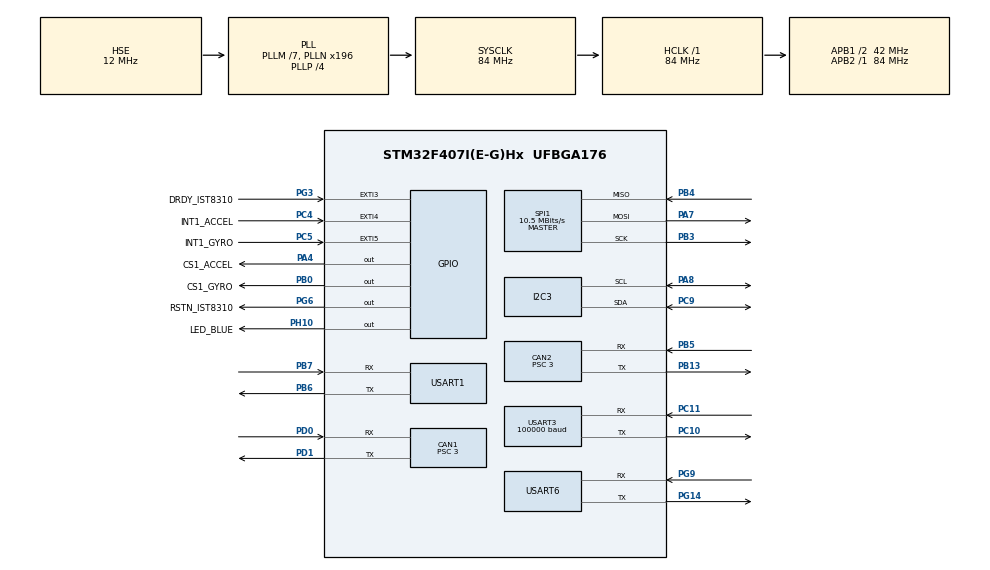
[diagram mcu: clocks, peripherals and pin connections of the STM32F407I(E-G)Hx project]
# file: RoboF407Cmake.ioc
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CAN1.BS1=CAN_BS1_11TQ
CAN1.BS2=CAN_BS2_2TQ
CAN1.CalculateBaudRate=1000000
CAN1.CalculateTimeBit=1000
CAN1.CalculateTimeQuantum=71.42857142857143
CAN1.NART=ENABLE
CAN1.Prescaler=3
CAN2.BS1=CAN_BS1_11TQ
CAN2.BS2=CAN_BS2_2TQ
CAN2.CalculateBaudRate=1000000
CAN2.CalculateTimeBit=1000
CAN2.CalculateTimeQuantum=71.42857142857143
CAN2.NART=ENABLE
CAN2.Prescaler=3
Dma.I2C3_RX.4.Direction=DMA_PERIPH_TO_MEMORY
Dma.I2C3_RX.4.FIFOMode=DMA_FIFOMODE_DISABLE
Dma.I2C3_RX.4.Instance=DMA1_Stream2
Dma.I2C3_RX.4.MemDataAlignment=DMA_MDATAALIGN_BYTE
Dma.I2C3_RX.4.MemInc=DMA_MINC_ENABLE
Dma.I2C3_RX.4.Mode=DMA_NORMAL
Dma.I2C3_RX.4.PeriphDataAlignment=DMA_PDATAALIGN_BYTE
Dma.I2C3_RX.4.PeriphInc=DMA_PINC_DISABLE
Dma.I2C3_RX.4.Priority=DMA_PRIORITY_LOW
Dma.I2C3_TX.5.Direction=DMA_MEMORY_TO_PERIPH
Dma.I2C3_TX.5.FIFOMode=DMA_FIFOMODE_DISABLE
Dma.I2C3_TX.5.Instance=DMA1_Stream4
Dma.I2C3_TX.5.MemDataAlignment=DMA_MDATAALIGN_BYTE
Dma.I2C3_TX.5.MemInc=DMA_MINC_ENABLE
Dma.I2C3_TX.5.Mode=DMA_NORMAL
Dma.I2C3_TX.5.PeriphDataAlignment=DMA_PDATAALIGN_BYTE
Dma.I2C3_TX.5.PeriphInc=DMA_PINC_DISABLE
Dma.I2C3_TX.5.Priority=DMA_PRIORITY_LOW
Dma.Request0=USART1_RX
Dma.Request1=SPI1_RX
Dma.Request2=SPI1_TX
Dma.Request3=USART3_RX
Dma.Request4=I2C3_RX
Dma.Request5=I2C3_TX
Dma.Request6=USART1_TX
Dma.Request7=USART6_RX
Dma.Request8=USART6_TX
Dma.SPI1_RX.1.Direction=DMA_PERIPH_TO_MEMORY
Dma.SPI1_RX.1.FIFOMode=DMA_FIFOMODE_DISABLE
Dma.SPI1_RX.1.Instance=DMA2_Stream0
Dma.SPI1_RX.1.MemDataAlignment=DMA_MDATAALIGN_BYTE
Dma.SPI1_RX.1.MemInc=DMA_MINC_ENABLE
Dma.SPI1_RX.1.Mode=DMA_NORMAL
Dma.SPI1_RX.1.PeriphDataAlignment=DMA_PDATAALIGN_BYTE
Dma.SPI1_RX.1.PeriphInc=DMA_PINC_DISABLE
Dma.SPI1_RX.1.Priority=DMA_PRIORITY_HIGH
Dma.SPI1_TX.2.Direction=DMA_MEMORY_TO_PERIPH
Dma.SPI1_TX.2.FIFOMode=DMA_FIFOMODE_DISABLE
Dma.SPI1_TX.2.Instance=DMA2_Stream3
Dma.SPI1_TX.2.MemDataAlignment=DMA_MDATAALIGN_BYTE
Dma.SPI1_TX.2.MemInc=DMA_MINC_ENABLE
Dma.SPI1_TX.2.Mode=DMA_NORMAL
Dma.SPI1_TX.2.PeriphDataAlignment=DMA_PDATAALIGN_BYTE
Dma.SPI1_TX.2.PeriphInc=DMA_PINC_DISABLE
Dma.SPI1_TX.2.Priority=DMA_PRIORITY_HIGH
Dma.USART1_RX.0.Direction=DMA_PERIPH_TO_MEMORY
Dma.USART1_RX.0.FIFOMode=DMA_FIFOMODE_DISABLE
Dma.USART1_RX.0.Instance=DMA2_Stream2
Dma.USART1_RX.0.MemDataAlignment=DMA_MDATAALIGN_BYTE
Dma.USART1_RX.0.MemInc=DMA_MINC_ENABLE
Dma.USART1_RX.0.Mode=DMA_CIRCULAR
Dma.USART1_RX.0.PeriphDataAlignment=DMA_PDATAALIGN_BYTE
Dma.USART1_RX.0.PeriphInc=DMA_PINC_DISABLE
Dma.USART1_RX.0.Priority=DMA_PRIORITY_MEDIUM
Dma.USART1_TX.6.Direction=DMA_MEMORY_TO_PERIPH
Dma.USART1_TX.6.FIFOMode=DMA_FIFOMODE_DISABLE
Dma.USART1_TX.6.Instance=DMA2_Stream7
Dma.USART1_TX.6.MemDataAlignment=DMA_MDATAALIGN_BYTE
Dma.USART1_TX.6.MemInc=DMA_MINC_ENABLE
Dma.USART1_TX.6.Mode=DMA_NORMAL
Dma.USART1_TX.6.PeriphDataAlignment=DMA_PDATAALIGN_BYTE
Dma.USART1_TX.6.PeriphInc=DMA_PINC_DISABLE
Dma.USART1_TX.6.Priority=DMA_PRIORITY_MEDIUM
Dma.USART3_RX.3.Direction=DMA_PERIPH_TO_MEMORY
Dma.USART3_RX.3.FIFOMode=DMA_FIFOMODE_DISABLE
Dma.USART3_RX.3.Instance=DMA1_Stream1
Dma.USART3_RX.3.MemDataAlignment=DMA_MDATAALIGN_BYTE
Dma.USART3_RX.3.MemInc=DMA_MINC_ENABLE
Dma.USART3_RX.3.Mode=DMA_CIRCULAR
Dma.USART3_RX.3.PeriphDataAlignment=DMA_PDATAALIGN_BYTE
Dma.USART3_RX.3.PeriphInc=DMA_PINC_DISABLE
Dma.USART3_RX.3.Priority=DMA_PRIORITY_MEDIUM
Dma.USART6_RX.7.Direction=DMA_PERIPH_TO_MEMORY
Dma.USART6_RX.7.FIFOMode=DMA_FIFOMODE_DISABLE
Dma.USART6_RX.7.Instance=DMA2_Stream1
Dma.USART6_RX.7.MemDataAlignment=DMA_MDATAALIGN_BYTE
Dma.USART6_RX.7.MemInc=DMA_MINC_ENABLE
Dma.USART6_RX.7.Mode=DMA_CIRCULAR
Dma.USART6_RX.7.PeriphDataAlignment=DMA_PDATAALIGN_BYTE
Dma.USART6_RX.7.PeriphInc=DMA_PINC_DISABLE
Dma.USART6_RX.7.Priority=DMA_PRIORITY_MEDIUM
Dma.USART6_TX.8.Direction=DMA_MEMORY_TO_PERIPH
Dma.USART6_TX.8.FIFOMode=DMA_FIFOMODE_DISABLE
Dma.USART6_TX.8.Instance=DMA2_Stream6
Dma.USART6_TX.8.MemDataAlignment=DMA_MDATAALIGN_BYTE
Dma.USART6_TX.8.MemInc=DMA_MINC_ENABLE
Dma.USART6_TX.8.Mode=DMA_NORMAL
Dma.USART6_TX.8.PeriphDataAlignment=DMA_PDATAALIGN_BYTE
Dma.USART6_TX.8.PeriphInc=DMA_PINC_DISABLE
Dma.USART6_TX.8.Priority=DMA_PRIORITY_MEDIUM
FREERTOS.Tasks01=defaultTask,24,128,StartDefaultTask,Default,NULL,Dynamic,NULL,NULL
I2C3.I2C_Mode=I2C_Fast
Mcu.Family=STM32F4
Mcu.Name=STM32F407I(E-G)Hx
Mcu.Package=UFBGA176
Mcu.UserConstants=UART_SBUS,$$_USART3_IP_HANDLE_$$;UART_ABORT,$$_USART1_IP_HANDLE_$$;SPI_IMU,$$_SPI1_IP_HANDLE_$$;I2C_MAG,$$_I2C3_IP_HANDLE_$$;UART_PRINT,$$_USART6_IP_HANDLE_$$
NVIC.CAN1_RX0_IRQn=true\:5\:0\:false\:false\:true\:true\:true\:true\:true
NVIC.CAN1_RX1_IRQn=true\:5\:0\:false\:false\:true\:true\:true\:true\:true
NVIC.CAN1_SCE_IRQn=true\:5\:0\:false\:false\:true\:true\:true\:true\:true
NVIC.CAN1_TX_IRQn=true\:5\:0\:false\:false\:true\:true\:true\:true\:true
NVIC.CAN2_RX0_IRQn=true\:5\:0\:false\:false\:true\:true\:true\:true\:true
NVIC.CAN2_RX1_IRQn=true\:5\:0\:false\:false\:true\:true\:true\:true\:true
NVIC.CAN2_SCE_IRQn=true\:5\:0\:false\:false\:true\:true\:true\:true\:true
NVIC.CAN2_TX_IRQn=true\:5\:0\:false\:false\:true\:true\:true\:true\:true
NVIC.DMA1_Stream1_IRQn=true\:5\:0\:false\:false\:true\:true\:false\:true\:true
NVIC.DMA1_Stream2_IRQn=true\:5\:0\:false\:false\:true\:true\:false\:true\:true
NVIC.DMA1_Stream4_IRQn=true\:5\:0\:false\:false\:true\:true\:false\:true\:true
NVIC.DMA2_Stream0_IRQn=true\:5\:0\:false\:false\:true\:true\:false\:true\:true
NVIC.DMA2_Stream1_IRQn=true\:5\:0\:false\:false\:true\:true\:false\:true\:true
NVIC.DMA2_Stream2_IRQn=true\:5\:0\:false\:false\:true\:true\:false\:true\:true
NVIC.DMA2_Stream3_IRQn=true\:5\:0\:false\:false\:true\:true\:false\:true\:true
NVIC.DMA2_Stream6_IRQn=true\:5\:0\:false\:false\:true\:true\:false\:true\:true
NVIC.DMA2_Stream7_IRQn=true\:5\:0\:false\:false\:true\:true\:false\:true\:true
NVIC.EXTI3_IRQn=true\:5\:0\:false\:false\:true\:true\:true\:true\:true
NVIC.EXTI4_IRQn=true\:5\:0\:false\:false\:true\:true\:true\:true\:true
NVIC.EXTI9_5_IRQn=true\:5\:0\:false\:false\:true\:true\:true\:true\:true
NVIC.I2C3_ER_IRQn=true\:5\:0\:false\:false\:true\:true\:true\:true\:true
NVIC.I2C3_EV_IRQn=true\:5\:0\:false\:false\:true\:true\:true\:true\:true
NVIC.PriorityGroup=NVIC_PRIORITYGROUP_4
NVIC.SPI1_IRQn=true\:5\:0\:false\:false\:true\:true\:true\:true\:true
NVIC.TIM8_TRG_COM_TIM14_IRQn=true\:15\:0\:false\:false\:true\:false\:false\:true\:true
NVIC.TimeBase=TIM8_TRG_COM_TIM14_IRQn
NVIC.TimeBaseIP=TIM14
NVIC.USART1_IRQn=true\:5\:0\:false\:false\:true\:true\:true\:true\:true
NVIC.USART3_IRQn=true\:5\:0\:false\:false\:true\:true\:true\:true\:true
NVIC.USART6_IRQn=true\:5\:0\:false\:false\:true\:true\:true\:true\:true
PA13.Mode=Serial_Wire
PA13.Signal=SYS_JTMS-SWDIO
PA14.Mode=Serial_Wire
PA14.Signal=SYS_JTCK-SWCLK
PA4.GPIO_Label=CS1_ACCEL
PA4.GPIO_PuPd=GPIO_PULLUP
PA4.GPIO_Speed=GPIO_SPEED_FREQ_HIGH
PA4.PinState=GPIO_PIN_SET
PA4.Signal=GPIO_Output
PA7.Mode=Full_Duplex_Master
PA7.Signal=SPI1_MOSI
PA8.Mode=I2C
PA8.Signal=I2C3_SCL
PB0.GPIO_Label=CS1_GYRO
PB0.GPIO_PuPd=GPIO_PULLUP
PB0.GPIO_Speed=GPIO_SPEED_FREQ_HIGH
PB0.PinState=GPIO_PIN_SET
PB0.Signal=GPIO_Output
PB13.Mode=CAN_Activate
PB13.Signal=CAN2_TX
PB3.Mode=Full_Duplex_Master
PB3.Signal=SPI1_SCK
PB4.Mode=Full_Duplex_Master
PB4.Signal=SPI1_MISO
PB5.Mode=CAN_Activate
PB5.Signal=CAN2_RX
PB6.Mode=Asynchronous
PB6.Signal=USART1_TX
PB7.Mode=Asynchronous
PB7.Signal=USART1_RX
PC10.Mode=Asynchronous
PC10.Signal=USART3_TX
PC11.Mode=Asynchronous
PC11.Signal=USART3_RX
PC4.GPIO_Label=INT1_ACCEL
PC4.GPIO_ModeDefaultEXTI=GPIO_MODE_IT_FALLING
PC4.Signal=GPXTI4
PC5.GPIO_Label=INT1_GYRO
PC5.GPIO_ModeDefaultEXTI=GPIO_MODE_IT_FALLING
PC5.Signal=GPXTI5
PC9.Mode=I2C
PC9.Signal=I2C3_SDA
PD0.Mode=CAN_Activate
PD0.Signal=CAN1_RX
PD1.Mode=CAN_Activate
PD1.Signal=CAN1_TX
PG14.Mode=Asynchronous
PG14.Signal=USART6_TX
PG3.GPIO_Label=DRDY_IST8310
PG3.GPIO_ModeDefaultEXTI=GPIO_MODE_IT_RISING
PG3.Signal=GPXTI3
PG6.GPIO_Label=RSTN_IST8310
PG6.GPIO_ModeDefaultOutputPP=GPIO_MODE_OUTPUT_PP
PG6.GPIO_PuPd=GPIO_PULLUP
PG6.PinState=GPIO_PIN_SET
PG6.Signal=GPIO_Output
PG9.Mode=Asynchronous
PG9.Signal=USART6_RX
PH0-OSC_IN.Mode=HSE-External-Oscillator
PH0-OSC_IN.Signal=RCC_OSC_IN
PH1-OSC_OUT.Mode=HSE-External-Oscillator
PH1-OSC_OUT.Signal=RCC_OSC_OUT
PH10.GPIO_Label=LED_BLUE
PH10.Signal=GPIO_Output
ProjectManager.HeapSize=0x200
ProjectManager.StackSize=0x400
ProjectManager.TargetToolchain=CMake
RCC.48MHZClocksFreq_Value=84000000
RCC.AHBFreq_Value=84000000
RCC.APB1CLKDivider=RCC_HCLK_DIV2
RCC.APB1Freq_Value=42000000
RCC.APB1TimFreq_Value=84000000
RCC.APB2Freq_Value=84000000
RCC.APB2TimFreq_Value=84000000
RCC.CortexFreq_Value=84000000
RCC.HCLKFreq_Value=84000000
RCC.HSE_VALUE=12000000
RCC.HSI_VALUE=16000000
RCC.LSE_VALUE=32768
RCC.PLLM=7
RCC.PLLN=196
RCC.PLLP=RCC_PLLP_DIV4
RCC.PLLSourceVirtual=RCC_PLLSOURCE_HSE
RCC.SYSCLKFreq_VALUE=84000000
RCC.SYSCLKSource=RCC_SYSCLKSOURCE_PLLCLK
RCC.VCOOutputFreq_Value=336000000
SPI1.BaudRatePrescaler=SPI_BAUDRATEPRESCALER_8
SPI1.CLKPhase=SPI_PHASE_2EDGE
SPI1.CLKPolarity=SPI_POLARITY_HIGH
SPI1.CalculateBaudRate=10.5 MBits/s
SPI1.Direction=SPI_DIRECTION_2LINES
SPI1.Mode=SPI_MODE_MASTER
SPI1.VirtualType=VM_MASTER
STMicroelectronics.X-CUBE-ALGOBUILD.1.4.0.LibraryCcDSPOoLibraryJjDSPOoLibrary=true
USART1.VirtualMode=VM_ASYNC
USART3.BaudRate=100000
USART3.Parity=PARITY_EVEN
USART3.VirtualMode=VM_ASYNC
USART3.WordLength=WORDLENGTH_9B
USART6.VirtualMode=VM_ASYNC
VP_FREERTOS_VS_CMSIS_V2.Mode=CMSIS_V2
VP_STMicroelectronics.X-CUBE-ALGOBUILD_VS_DSPOoLibraryJjLibrary_1.4.0_1.4.0.Mode=DSPOoLibraryJjLibrary
VP_SYS_VS_tim14.Mode=TIM14
board=custom

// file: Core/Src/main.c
/* USER CODE BEGIN Header */
/**
  ******************************************************************************
  * @file           : main.c
  * @brief          : Main program body
  ******************************************************************************
  * @attention
  *
  * Copyright (c) 2026 STMicroelectronics.
  * All rights reserved.
  *
  * This software is licensed under terms that can be found in the LICENSE file
  * in the root directory of this software component.
  * If no LICENSE file comes with this software, it is provided AS-IS.
  *
  ******************************************************************************
  */
/* USER CODE END Header */
#include "main.h"
#include "cmsis_os.h"
#include "can.h"
#include "dma.h"
#include "i2c.h"
#include "spi.h"
#include "usart.h"
#include "gpio.h"

/* USER CODE BEGIN Includes */
#include "bsp_board.h"
#include "bsp_can.h"
#include "rmd_v2_x6.h"
#include "user_def.h"
/* USER CODE END Includes */

void SystemClock_Config(void);
void MX_FREERTOS_Init(void);

/* USER CODE BEGIN 0 */
#if USER_RMD_V2_X6_CAN_ID_CONFIG_ENABLE
#define MAIN_RMD_V2_X6_CAN_ID_CONFIG_TX_ID 0x300U
#define MAIN_RMD_V2_X6_CAN_ID_CONFIG_DLC 8U
#define MAIN_RMD_V2_X6_CAN_ID_CONFIG_WRITE_FLAG 0U

static volatile bool main_rmd_v2_x6_can_id_config_reply_ok_ = false;
static uint8_t main_rmd_v2_x6_can_id_config_expected_reply_[MAIN_RMD_V2_X6_CAN_ID_CONFIG_DLC] = {0U};

static void mainRMDV2X6CANIDConfigReplyCallback(void *owner, const bspCANMessage_t *rx_message)
{
  if (owner == NULL || rx_message == NULL) {
    return;
  }

  if (rx_message->message_header_.message_id_ != MAIN_RMD_V2_X6_CAN_ID_CONFIG_TX_ID ||
      rx_message->message_header_.message_ide_ != 0U ||
      rx_message->message_header_.message_dlc_ != MAIN_RMD_V2_X6_CAN_ID_CONFIG_DLC) {
    return;
  }

  for (uint32_t i = 0; i < MAIN_RMD_V2_X6_CAN_ID_CONFIG_DLC; i++) {
    if (rx_message->message_data_[i] != main_rmd_v2_x6_can_id_config_expected_reply_[i]) {
      return;
    }
  }

  *((volatile bool *)owner) = true;
}

static void mainRunRMDV2X6CANIDConfigMode(void)
{
  bspCANInstance_t *can_instance = bspBoardGetCANInstance(BSP_CAN_1);
  if (can_instance == NULL) {
    Error_Handler();
  }

  for (uint32_t i = 0; i < MAIN_RMD_V2_X6_CAN_ID_CONFIG_DLC; i++) {
    main_rmd_v2_x6_can_id_config_expected_reply_[i] = 0U;
  }
  main_rmd_v2_x6_can_id_config_expected_reply_[0] = 0x79U;
  main_rmd_v2_x6_can_id_config_expected_reply_[2] = MAIN_RMD_V2_X6_CAN_ID_CONFIG_WRITE_FLAG;
  main_rmd_v2_x6_can_id_config_expected_reply_[7] = (uint8_t)USER_RMD_V2_X6_CAN_ID_CONFIG_TARGET_CAN_ID;

  bspCANRxRoute_t rx_route = {0};
  rx_route.route_id_ = MAIN_RMD_V2_X6_CAN_ID_CONFIG_TX_ID;
  rx_route.route_ide_ = 0U;
  rx_route.route_id_mask_ = 0U;
  rx_route.route_owner_ = (void *)&main_rmd_v2_x6_can_id_config_reply_ok_;
  rx_route.route_rx_callback_ = mainRMDV2X6CANIDConfigReplyCallback;
  bspCANRxCallbackRegister(can_instance, rx_route);

  if (bspCANSetFilter(can_instance) != BSP_CAN_OK) {
    Error_Handler();
  }

  if (bspCANStart(can_instance) != BSP_CAN_OK) {
    Error_Handler();
  }

  while (1) {
    main_rmd_v2_x6_can_id_config_reply_ok_ = false;

    if (motorRMDV2X6SetSingleMotorCANID(can_instance, USER_RMD_V2_X6_CAN_ID_CONFIG_TARGET_CAN_ID) == MOTOR_OK) {
      uint32_t wait_start_ms = HAL_GetTick();
      while ((HAL_GetTick() - wait_start_ms) < USER_RMD_V2_X6_CAN_ID_CONFIG_REPLY_TIMEOUT_MS) {
        if (main_rmd_v2_x6_can_id_config_reply_ok_ == true) {
          while (1) {
            HAL_Delay(1000);
          }
        }
      }
    }

    HAL_Delay(USER_RMD_V2_X6_CAN_ID_CONFIG_SEND_PERIOD_MS);
  }
}
#endif
/* USER CODE END 0 */

int main(void)
{

  /* MCU Configuration--------------------------------------------------------*/

  /* Reset of all peripherals, Initializes the Flash interface and the Systick. */
  HAL_Init();

  /* Configure the system clock */
  SystemClock_Config();

  /* Initialize all configured peripherals */
  MX_GPIO_Init();
  MX_DMA_Init();
  MX_USART1_UART_Init();
  MX_SPI1_Init();
  MX_CAN1_Init();
  MX_USART3_UART_Init();
  MX_I2C3_Init();
  MX_USART6_UART_Init();
  MX_CAN2_Init();
  /* USER CODE BEGIN 2 */
  bspBoardInit();
#if USER_RMD_V2_X6_CAN_ID_CONFIG_ENABLE
  mainRunRMDV2X6CANIDConfigMode();
#endif
  /* USER CODE END 2 */

  /* Init scheduler */
  osKernelInitialize();  /* Call init function for freertos objects (in cmsis_os2.c) */
  MX_FREERTOS_Init();

  /* Start scheduler */
  osKernelStart();

  /* We should never get here as control is now taken by the scheduler */

  /* Infinite loop */
  while (1)
  {

  }
}

void SystemClock_Config(void)
{
  RCC_OscInitTypeDef RCC_OscInitStruct = {0};
  RCC_ClkInitTypeDef RCC_ClkInitStruct = {0};

  /** Configure the main internal regulator output voltage
  */
  __HAL_RCC_PWR_CLK_ENABLE();
  __HAL_PWR_VOLTAGESCALING_CONFIG(PWR_REGULATOR_VOLTAGE_SCALE1);

  /** Initializes the RCC Oscillators according to the specified parameters
  * in the RCC_OscInitTypeDef structure.
  */
  RCC_OscInitStruct.OscillatorType = RCC_OSCILLATORTYPE_HSE;
  RCC_OscInitStruct.HSEState = RCC_HSE_ON;
  RCC_OscInitStruct.PLL.PLLState = RCC_PLL_ON;
  RCC_OscInitStruct.PLL.PLLSource = RCC_PLLSOURCE_HSE;
  RCC_OscInitStruct.PLL.PLLM = 7;
  RCC_OscInitStruct.PLL.PLLN = 196;
  RCC_OscInitStruct.PLL.PLLP = RCC_PLLP_DIV4;
  RCC_OscInitStruct.PLL.PLLQ = 4;
  if (HAL_RCC_OscConfig(&RCC_OscInitStruct) != HAL_OK)
  {
    Error_Handler();
  }

  /** Initializes the CPU, AHB and APB buses clocks
  */
  RCC_ClkInitStruct.ClockType = RCC_CLOCKTYPE_HCLK|RCC_CLOCKTYPE_SYSCLK
                              |RCC_CLOCKTYPE_PCLK1|RCC_CLOCKTYPE_PCLK2;
  RCC_ClkInitStruct.SYSCLKSource = RCC_SYSCLKSOURCE_PLLCLK;
  RCC_ClkInitStruct.AHBCLKDivider = RCC_SYSCLK_DIV1;
  RCC_ClkInitStruct.APB1CLKDivider = RCC_HCLK_DIV2;
  RCC_ClkInitStruct.APB2CLKDivider = RCC_HCLK_DIV1;

  if (HAL_RCC_ClockConfig(&RCC_ClkInitStruct, FLASH_LATENCY_2) != HAL_OK)
  {
    Error_Handler();
  }
}

void HAL_TIM_PeriodElapsedCallback(TIM_HandleTypeDef *htim)
{
  if (htim->Instance == TIM14)
  {
    HAL_IncTick();
  }
}

void Error_Handler(void)
{
  __disable_irq();
  while (1)
  {
  }
}

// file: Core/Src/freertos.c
/* USER CODE BEGIN Header */
/**
  ******************************************************************************
  * File Name          : freertos.c
  * Description        : Code for FreeRTOS applications
  ******************************************************************************
  * @attention
  *
  * Copyright (c) 2026 STMicroelectronics.
  * All rights reserved.
  *
  * This software is licensed under terms that can be found in the LICENSE file
  * in the root directory of this software component.
  * If no LICENSE file comes with this software, it is provided AS-IS.
  *
  ******************************************************************************
  */
/* USER CODE END Header */

#include "FreeRTOS.h"
#include "task.h"
#include "main.h"
#include "cmsis_os.h"

/* USER CODE BEGIN Includes */
#include "app_remote_control.h"
#include "app_ins.h"
#include "app_chassis.h"
#include "app_topic_bus_test.h"
#include "app_log.h"
#include "app_uart6_serial_stream_rx_test.h"
#include "user_def.h"
/* USER CODE END Includes */

/* USER CODE BEGIN Variables */
/* Definitions for remoteControlTask */
osThreadId_t remoteControlTaskHandle;
const osThreadAttr_t remoteControlTask_attributes = {
  .name = "remoteControlTask",
  .stack_size = 256 * 4,
  .priority = (osPriority_t) osPriorityNormal,
};
// volatile UBaseType_t remote_control_task_stack_high_water_mark_ = 0;
// volatile UBaseType_t remote_control_task_stack_high_water_mark_min_ = 0xFFFFFFFFU;

osThreadId_t appINSTaskHandle;
const osThreadAttr_t insTask_attributes = {
  .name = "insTask_",
  .stack_size = 256 * 16,
  .priority = (osPriority_t) osPriorityHigh,
};
volatile UBaseType_t ins_task_stack_high_water_mark_ = 0;
volatile UBaseType_t ins_task_stack_high_water_mark_min_ = 0xFFFFFFFFU;

osThreadId_t appChassisTaskHandle;
const osThreadAttr_t chassisTask_attributes = {
  .name = "chassisTask_",
  .stack_size = 256 * 8,
  .priority = (osPriority_t) osPriorityHigh,
};

osThreadId_t appLogTaskHandle;
const osThreadAttr_t appLogTask_attributes = {
  .name = "logTask_",
  .stack_size = 256 * 8,
  .priority = (osPriority_t) osPriorityNormal,
};

#if USER_UART6_SERIAL_STREAM_RX_TEST_ENABLE
osThreadId_t appUART6SerialStreamRxTestTaskHandle;
const osThreadAttr_t appUART6SerialStreamRxTestTask_attributes = {
  .name = "u6RxStrmT",
  .stack_size = 256 * 8,
  .priority = (osPriority_t) osPriorityNormal,
};
#endif

#if USER_TOPIC_BUS_TEST_ENABLE
osThreadId_t topicBusTestPublisherTaskHandle;
const osThreadAttr_t topicBusTestPublisherTask_attributes = {
  .name = "topicBusPub_",
  .stack_size = 256 * 4,
  .priority = (osPriority_t) osPriorityHigh,
};

osThreadId_t topicBusTestCmdFastTaskHandle;
const osThreadAttr_t topicBusTestCmdFastTask_attributes = {
  .name = "topicBusCmdF",
  .stack_size = 256 * 4,
  .priority = (osPriority_t) osPriorityAboveNormal,
};

osThreadId_t topicBusTestCmdSlowTaskHandle;
const osThreadAttr_t topicBusTestCmdSlowTask_attributes = {
  .name = "topicBusCmdS",
  .stack_size = 256 * 4,
  .priority = (osPriority_t) osPriorityLow,
};

osThreadId_t topicBusTestStateTaskHandle;
const osThreadAttr_t topicBusTestStateTask_attributes = {
  .name = "topicBusSt_",
  .stack_size = 256 * 4,
  .priority = (osPriority_t) osPriorityAboveNormal,
};

osThreadId_t topicBusTestStateAuxTaskHandle;
const osThreadAttr_t topicBusTestStateAuxTask_attributes = {
  .name = "topicBusAux",
  .stack_size = 256 * 4,
  .priority = (osPriority_t) osPriorityAboveNormal,
};
#endif

/* USER CODE END Variables */
/* Definitions for defaultTask */
osThreadId_t defaultTaskHandle;
const osThreadAttr_t defaultTask_attributes = {
  .name = "defaultTask",
  .stack_size = 128 * 4,
  .priority = (osPriority_t) osPriorityNormal,
};

/* USER CODE BEGIN FunctionPrototypes */
void StartRemoteControlTask(void *argument);
void StartINSTask(void *argument);
void StartChassisTask(void *argument);
void StartLogTask(void *argument);
void StartUART6SerialStreamRxTestTask(void *argument);
#if USER_TOPIC_BUS_TEST_ENABLE
void StartTopicBusTestPublisherTask(void *argument);
void StartTopicBusTestCommandFastSubscriberTask(void *argument);
void StartTopicBusTestCommandSlowSubscriberTask(void *argument);
void StartTopicBusTestStateSubscriberTask(void *argument);
void StartTopicBusTestStateAuxSubscriberTask(void *argument);
#endif
/* USER CODE END FunctionPrototypes */

void StartDefaultTask(void *argument);

void MX_FREERTOS_Init(void); /* (MISRA C 2004 rule 8.1) */

void MX_FREERTOS_Init(void) {

  /* Create the thread(s) */
  /* creation of defaultTask */
  defaultTaskHandle = osThreadNew(StartDefaultTask, NULL, &defaultTask_attributes);

  /* USER CODE BEGIN RTOS_THREADS */
  /* add threads, ... */
  remoteControlTaskHandle = osThreadNew(StartRemoteControlTask, NULL, &remoteControlTask_attributes);
  appINSTaskHandle = osThreadNew(StartINSTask, NULL, &insTask_attributes);
  appChassisTaskHandle = osThreadNew(StartChassisTask, NULL, &chassisTask_attributes);
  appLogTaskHandle = osThreadNew(StartLogTask, NULL, &appLogTask_attributes);
#if USER_UART6_SERIAL_STREAM_RX_TEST_ENABLE
  appUART6SerialStreamRxTestTaskHandle = osThreadNew(StartUART6SerialStreamRxTestTask, NULL, &appUART6SerialStreamRxTestTask_attributes);
#endif
#if USER_TOPIC_BUS_TEST_ENABLE
  topicBusTestPublisherTaskHandle = osThreadNew(StartTopicBusTestPublisherTask, NULL, &topicBusTestPublisherTask_attributes);
  topicBusTestCmdFastTaskHandle = osThreadNew(StartTopicBusTestCommandFastSubscriberTask, NULL, &topicBusTestCmdFastTask_attributes);
  topicBusTestCmdSlowTaskHandle = osThreadNew(StartTopicBusTestCommandSlowSubscriberTask, NULL, &topicBusTestCmdSlowTask_attributes);
  topicBusTestStateTaskHandle = osThreadNew(StartTopicBusTestStateSubscriberTask, NULL, &topicBusTestStateTask_attributes);
  topicBusTestStateAuxTaskHandle = osThreadNew(StartTopicBusTestStateAuxSubscriberTask, NULL, &topicBusTestStateAuxTask_attributes);
#endif
  /* USER CODE END RTOS_THREADS */

}

void StartDefaultTask(void *argument)
{
  /* USER CODE BEGIN StartDefaultTask */
  (void)argument;

  for (;;) {
    osDelay(1000);
  }
  /* USER CODE END StartDefaultTask */
}

/* USER CODE BEGIN Application */
void StartRemoteControlTask(void *argument)
{
  appRemoteControlTaskEntry(argument);
}

void StartINSTask(void *argument)
{
  appINSTaskEntry(argument);
}

void StartChassisTask(void *argument)
{
  appChassisTaskEntry(argument);
}

void StartLogTask(void *argument)
{
  appLogTaskEntry(argument);
}

#if USER_UART6_SERIAL_STREAM_RX_TEST_ENABLE
void StartUART6SerialStreamRxTestTask(void *argument)
{
  appUART6SerialStreamRxTestTaskEntry(argument);
}
#endif

#if USER_TOPIC_BUS_TEST_ENABLE
void StartTopicBusTestPublisherTask(void *argument)
{
  appTopicBusTestPublisherTaskEntry(argument);
}

void StartTopicBusTestCommandFastSubscriberTask(void *argument)
{
  appTopicBusTestCommandFastSubscriberTaskEntry(argument);
}

void StartTopicBusTestCommandSlowSubscriberTask(void *argument)
{
  appTopicBusTestCommandSlowSubscriberTaskEntry(argument);
}

void StartTopicBusTestStateSubscriberTask(void *argument)
{
  appTopicBusTestStateSubscriberTaskEntry(argument);
}

void StartTopicBusTestStateAuxSubscriberTask(void *argument)
{
  appTopicBusTestStateAuxSubscriberTaskEntry(argument);
}
#endif
/* USER CODE END Application */

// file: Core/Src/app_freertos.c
/* USER CODE BEGIN Header */
/**
  ******************************************************************************
  * File Name          : freertos.c
  * Description        : Code for FreeRTOS applications
  ******************************************************************************
  * @attention
  *
  * Copyright (c) 2026 STMicroelectronics.
  * All rights reserved.
  *
  * This software is licensed under terms that can be found in the LICENSE file
  * in the root directory of this software component.
  * If no LICENSE file comes with this software, it is provided AS-IS.
  *
  ******************************************************************************
  */
/* USER CODE END Header */

#include "FreeRTOS.h"
#include "task.h"
#include "main.h"
#include "cmsis_os.h"

/* USER CODE BEGIN Includes */
// #include "app_remote_control.h"
// #include "app_ins.h"
// #include "app_chassis.h"
#include "app_topic_bus_test.h"
#include "app_log.h"
#include "app_uart6_serial_stream_rx_test.h"
#include "user_def.h"
/* USER CODE END Includes */

/* USER CODE BEGIN Variables */
/* Definitions for remoteControlTask */
osThreadId_t remoteControlTaskHandle;
const osThreadAttr_t remoteControlTask_attributes = {
  .name = "remoteControlTask",
  .stack_size = 256 * 4,
  .priority = (osPriority_t) osPriorityNormal,
};
// volatile UBaseType_t remote_control_task_stack_high_water_mark_ = 0;
// volatile UBaseType_t remote_control_task_stack_high_water_mark_min_ = 0xFFFFFFFFU;

osThreadId_t appINSTaskHandle;
const osThreadAttr_t insTask_attributes = {
  .name = "insTask_",
  .stack_size = 256 * 16,
  .priority = (osPriority_t) osPriorityHigh,
};
volatile UBaseType_t ins_task_stack_high_water_mark_ = 0;
volatile UBaseType_t ins_task_stack_high_water_mark_min_ = 0xFFFFFFFFU;

osThreadId_t appChassisTaskHandle;
const osThreadAttr_t chassisTask_attributes = {
  .name = "chassisTask_",
  .stack_size = 256 * 8,
  .priority = (osPriority_t) osPriorityHigh,
};

osThreadId_t appLogTaskHandle;
const osThreadAttr_t appLogTask_attributes = {
  .name = "logTask_",
  .stack_size = 256 * 8,
  .priority = (osPriority_t) osPriorityNormal,
};

#if USER_UART6_SERIAL_STREAM_RX_TEST_ENABLE
osThreadId_t appUART6SerialStreamRxTestTaskHandle;
const osThreadAttr_t appUART6SerialStreamRxTestTask_attributes = {
  .name = "u6RxStrmT",
  .stack_size = 256 * 8,
  .priority = (osPriority_t) osPriorityNormal,
};
#endif

#if USER_TOPIC_BUS_TEST_ENABLE
osThreadId_t topicBusTestPublisherTaskHandle;
const osThreadAttr_t topicBusTestPublisherTask_attributes = {
  .name = "topicBusPub_",
  .stack_size = 256 * 4,
  .priority = (osPriority_t) osPriorityHigh,
};

osThreadId_t topicBusTestCmdFastTaskHandle;
const osThreadAttr_t topicBusTestCmdFastTask_attributes = {
  .name = "topicBusCmdF",
  .stack_size = 256 * 4,
  .priority = (osPriority_t) osPriorityAboveNormal,
};

osThreadId_t topicBusTestCmdSlowTaskHandle;
const osThreadAttr_t topicBusTestCmdSlowTask_attributes = {
  .name = "topicBusCmdS",
  .stack_size = 256 * 4,
  .priority = (osPriority_t) osPriorityLow,
};

osThreadId_t topicBusTestStateTaskHandle;
const osThreadAttr_t topicBusTestStateTask_attributes = {
  .name = "topicBusSt_",
  .stack_size = 256 * 4,
  .priority = (osPriority_t) osPriorityAboveNormal,
};

osThreadId_t topicBusTestStateAuxTaskHandle;
const osThreadAttr_t topicBusTestStateAuxTask_attributes = {
  .name = "topicBusAux",
  .stack_size = 256 * 4,
  .priority = (osPriority_t) osPriorityAboveNormal,
};
#endif

/* USER CODE END Variables */
/* Definitions for defaultTask */
osThreadId_t defaultTaskHandle;
const osThreadAttr_t defaultTask_attributes = {
  .name = "defaultTask",
  .priority = (osPriority_t) osPriorityNormal,
  .stack_size = 128 * 4
};

/* USER CODE BEGIN FunctionPrototypes */
void StartRemoteControlTask(void *argument);
void StartINSTask(void *argument);
void StartChassisTask(void *argument);
void StartLogTask(void *argument);
void StartUART6SerialStreamRxTestTask(void *argument);
#if USER_TOPIC_BUS_TEST_ENABLE
void StartTopicBusTestPublisherTask(void *argument);
void StartTopicBusTestCommandFastSubscriberTask(void *argument);
void StartTopicBusTestCommandSlowSubscriberTask(void *argument);
void StartTopicBusTestStateSubscriberTask(void *argument);
void StartTopicBusTestStateAuxSubscriberTask(void *argument);
#endif
/* USER CODE END FunctionPrototypes */

void StartDefaultTask(void *argument);

void MX_FREERTOS_Init(void); /* (MISRA C 2004 rule 8.1) */

void MX_FREERTOS_Init(void) {

  /* Create the thread(s) */
  /* creation of defaultTask */
  defaultTaskHandle = osThreadNew(StartDefaultTask, NULL, &defaultTask_attributes);

  /* USER CODE BEGIN RTOS_THREADS */
  /* add threads, ... */
  // remoteControlTaskHandle = osThreadNew(StartRemoteControlTask, NULL, &remoteControlTask_attributes);
  // appINSTaskHandle = osThreadNew(StartINSTask, NULL, &insTask_attributes);
  // appChassisTaskHandle = osThreadNew(StartChassisTask, NULL, &chassisTask_attributes);
  appLogTaskHandle = osThreadNew(StartLogTask, NULL, &appLogTask_attributes);
#if USER_UART6_SERIAL_STREAM_RX_TEST_ENABLE
  appUART6SerialStreamRxTestTaskHandle = osThreadNew(StartUART6SerialStreamRxTestTask, NULL, &appUART6SerialStreamRxTestTask_attributes);
#endif
#if USER_TOPIC_BUS_TEST_ENABLE
  topicBusTestPublisherTaskHandle = osThreadNew(StartTopicBusTestPublisherTask, NULL, &topicBusTestPublisherTask_attributes);
  topicBusTestCmdFastTaskHandle = osThreadNew(StartTopicBusTestCommandFastSubscriberTask, NULL, &topicBusTestCmdFastTask_attributes);
  topicBusTestCmdSlowTaskHandle = osThreadNew(StartTopicBusTestCommandSlowSubscriberTask, NULL, &topicBusTestCmdSlowTask_attributes);
  topicBusTestStateTaskHandle = osThreadNew(StartTopicBusTestStateSubscriberTask, NULL, &topicBusTestStateTask_attributes);
  topicBusTestStateAuxTaskHandle = osThreadNew(StartTopicBusTestStateAuxSubscriberTask, NULL, &topicBusTestStateAuxTask_attributes);
#endif
  /* USER CODE END RTOS_THREADS */

}

void StartDefaultTask(void *argument)
{
  /* USER CODE BEGIN StartDefaultTask */
  (void)argument;

  for (;;) {
    osDelay(1000);
  }
  /* USER CODE END StartDefaultTask */
}

/* USER CODE BEGIN Application */
// void StartRemoteControlTask(void *argument)
// {
//   appRemoteControlTaskEntry(argument);
// }

// void StartINSTask(void *argument)
// {
//   appINSTaskEntry(argument);
// }

// void StartChassisTask(void *argument)
// {
//   appChassisTaskEntry(argument);
// }

void StartLogTask(void *argument)
{
  appLogTaskEntry(argument);
}

#if USER_UART6_SERIAL_STREAM_RX_TEST_ENABLE
void StartUART6SerialStreamRxTestTask(void *argument)
{
  appUART6SerialStreamRxTestTaskEntry(argument);
}
#endif

#if USER_TOPIC_BUS_TEST_ENABLE
void StartTopicBusTestPublisherTask(void *argument)
{
  appTopicBusTestPublisherTaskEntry(argument);
}

void StartTopicBusTestCommandFastSubscriberTask(void *argument)
{
  appTopicBusTestCommandFastSubscriberTaskEntry(argument);
}

void StartTopicBusTestCommandSlowSubscriberTask(void *argument)
{
  appTopicBusTestCommandSlowSubscriberTaskEntry(argument);
}

void StartTopicBusTestStateSubscriberTask(void *argument)
{
  appTopicBusTestStateSubscriberTaskEntry(argument);
}

void StartTopicBusTestStateAuxSubscriberTask(void *argument)
{
  appTopicBusTestStateAuxSubscriberTaskEntry(argument);
}
#endif
/* USER CODE END Application */
